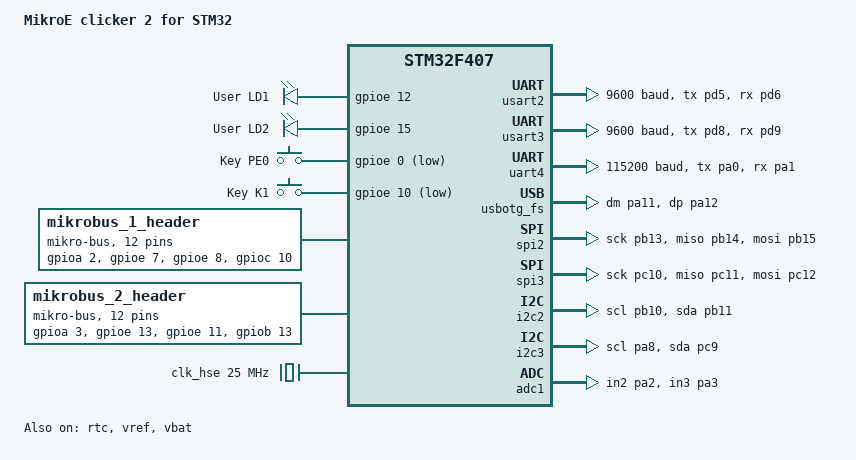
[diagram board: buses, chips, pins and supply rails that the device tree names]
/*
 * Copyright (c) 2020 Trifork
 *
 * SPDX-License-Identifier: Apache-2.0
 */

/dts-v1/;
#include <st/f4/stm32f407Xg.dtsi>
#include <st/f4/stm32f407v(e-g)tx-pinctrl.dtsi>
#include <zephyr/dt-bindings/input/input-event-codes.h>

/ {
	model = "MikroE clicker 2 for STM32";
	compatible = "mikroe,stm32-e407", "st,stm32f407";

	chosen {
		zephyr,console = &uart4;
		zephyr,shell-uart = &uart4;
		zephyr,sram = &sram0;
		zephyr,flash = &flash0;
		zephyr,dtcm = &ccm0;
	};

	leds {
		compatible = "gpio-leds";

		ld1: led_1 {
			gpios = <&gpioe 12 GPIO_ACTIVE_HIGH>;
			label = "User LD1";
		};

		ld2: led_2 {
			gpios = <&gpioe 15 GPIO_ACTIVE_HIGH>;
			label = "User LD2";
		};
	};

	gpio_keys {
		compatible = "gpio-keys";

		user_button_0: key_0 {
			label = "Key PE0";
			gpios = <&gpioe 0 GPIO_ACTIVE_LOW>;
			zephyr,code = <INPUT_KEY_0>;
		};

		user_button_1: key_1 {
			label = "Key K1";
			gpios = <&gpioe 10 GPIO_ACTIVE_LOW>;
			zephyr,code = <INPUT_KEY_1>;
		};
	};

	mikrobus_1_header: mikrobus-connector-1 {
		compatible = "mikro-bus";
		#gpio-cells = <2>;
		gpio-map-mask = <0xffffffff 0xffffffc0>;
		gpio-map-pass-thru = <0 0x3f>;
		gpio-map = <0 0 &gpioa 2 0>,	/* AN   */
			   <1 0 &gpioe 7 0>,	/* RST  */
			   <2 0 &gpioe 8 0>,	/* CS   */
			   <3 0 &gpioc 10 0>,	/* SCK  */
			   <4 0 &gpioc 11 0>,	/* MISO */
			   <5 0 &gpioc 12 0>,	/* MOSI */
			   /* +3.3V */
			   /* GND */
			   <6 0 &gpioe 9 0>,	/* PWM  */
			   <7 0 &gpioe 10 0>,	/* INT  */
			   <8 0 &gpiod 6 0>,	/* RX   */
			   <9 0 &gpiod 5 0>,	/* TX   */
			   <10 0 &gpioa 8 0>,	/* SCL  */
			   <11 0 &gpioc 9 0>;	/* SDA  */
		/* +5V */
		/* GND */
	};

	mikrobus_2_header: mikrobus-connector-2 {
		compatible = "mikro-bus";
		#gpio-cells = <2>;
		gpio-map-mask = <0xffffffff 0xffffffc0>;
		gpio-map-pass-thru = <0 0x3f>;
		gpio-map = <0 0 &gpioa 3 0>,	/* AN   */
			   <1 0 &gpioe 13 0>,	/* RST  */
			   <2 0 &gpioe 11 0>,	/* CS   */
			   <3 0 &gpiob 13 0>,	/* SCK  */
			   <4 0 &gpiob 14 0>,	/* MISO */
			   <5 0 &gpiob 15 0>,	/* MOSI */
			   /* +3.3V */
			   /* GND */
			   <6 0 &gpiod 12 0>,	/* PWM  */
			   <7 0 &gpioe 14 0>,	/* INT  */
			   <8 0 &gpiod 9 0>,	/* RX   */
			   <9 0 &gpiod 8 0>,	/* TX   */
			   <10 0 &gpiob 10 0>,	/* SCL  */
			   <11 0 &gpiob 11 0>;	/* SDA  */
		/* +5V */
		/* GND */
	};

	aliases {
		led0 = &ld1;
		led1 = &ld2;
		sw0 = &user_button_0;
		sw1 = &user_button_1;
		volt-sensor0 = &vref;
		volt-sensor1 = &vbat;
	};
};

&clk_lsi {
	status = "okay";
};

&clk_hse {
	clock-frequency = <DT_FREQ_M(25)>;
	status = "okay";
};

&pll {
	div-m = <25>;
	mul-n = <336>;
	div-p = <2>;
	div-q = <7>;
	clocks = <&clk_hse>;
	status = "okay";
};

&rcc {
	clocks = <&pll>;
	clock-frequency = <DT_FREQ_M(168)>;
	ahb-prescaler = <1>;
	apb1-prescaler = <4>;
	apb2-prescaler = <2>;
};

&usart2 {
	pinctrl-0 = <&usart2_tx_pd5 &usart2_rx_pd6>;
	pinctrl-names = "default";
	current-speed = <9600>;
	status = "okay";
};

&usart3 {
	pinctrl-0 = <&usart3_tx_pd8 &usart3_rx_pd9>;
	pinctrl-names = "default";
	current-speed = <9600>;
	status = "okay";
};

&uart4 {
	pinctrl-0 = <&uart4_tx_pa0 &uart4_rx_pa1>;
	pinctrl-names = "default";
	current-speed = <115200>;
	status = "okay";
};

&rtc {
	clocks = <&rcc STM32_CLOCK(APB1, 28)>,
		 <&rcc STM32_SRC_LSI RTC_SEL(2)>;
	status = "okay";
};

zephyr_udc0: &usbotg_fs {
	pinctrl-0 = <&usb_otg_fs_dm_pa11 &usb_otg_fs_dp_pa12>;
	pinctrl-names = "default";
	status = "okay";
};

&spi2 {
	pinctrl-0 = <&spi2_sck_pb13 &spi2_miso_pb14 &spi2_mosi_pb15>;
	pinctrl-names = "default";
	cs-gpios = <&gpioe 11 GPIO_ACTIVE_LOW>;
	status = "okay";
};

&spi3 {
	pinctrl-0 = <&spi3_sck_pc10 &spi3_miso_pc11 &spi3_mosi_pc12>;
	pinctrl-names = "default";
	cs-gpios = <&gpioe 8 GPIO_ACTIVE_LOW>;
	status = "okay";
};

&i2c2 {
	pinctrl-0 = <&i2c2_scl_pb10 &i2c2_sda_pb11>;
	pinctrl-names = "default";
	status = "okay";
};

&i2c3 {
	pinctrl-0 = <&i2c3_scl_pa8 &i2c3_sda_pc9>;
	pinctrl-names = "default";
	status = "okay";
};

&adc1 {
	status = "okay";
	pinctrl-0 = <&adc1_in2_pa2 &adc1_in3_pa3>;
	pinctrl-names = "default";
	st,adc-clock-source = "SYNC";
	st,adc-prescaler = <2>;
};

&vref {
	status = "okay";
};

&vbat {
	status = "okay";
};

mikrobus_1_i2c: &i2c3 {};

mikrobus_1_spi: &spi3 {};

mikrobus_1_uart: &usart2 {};

mikrobus_2_i2c: &i2c2 {};

mikrobus_2_spi: &spi2 {};

mikrobus_2_uart: &usart3 {};

mikrobus_i2c: &mikrobus_1_i2c {};

mikrobus_spi: &mikrobus_1_spi {};

mikrobus_uart: &mikrobus_1_uart {};

mikrobus_header_1: &mikrobus_1_header {};

mikrobus_header_2: &mikrobus_2_header {};

mikrobus_header: &mikrobus_1_header {};
